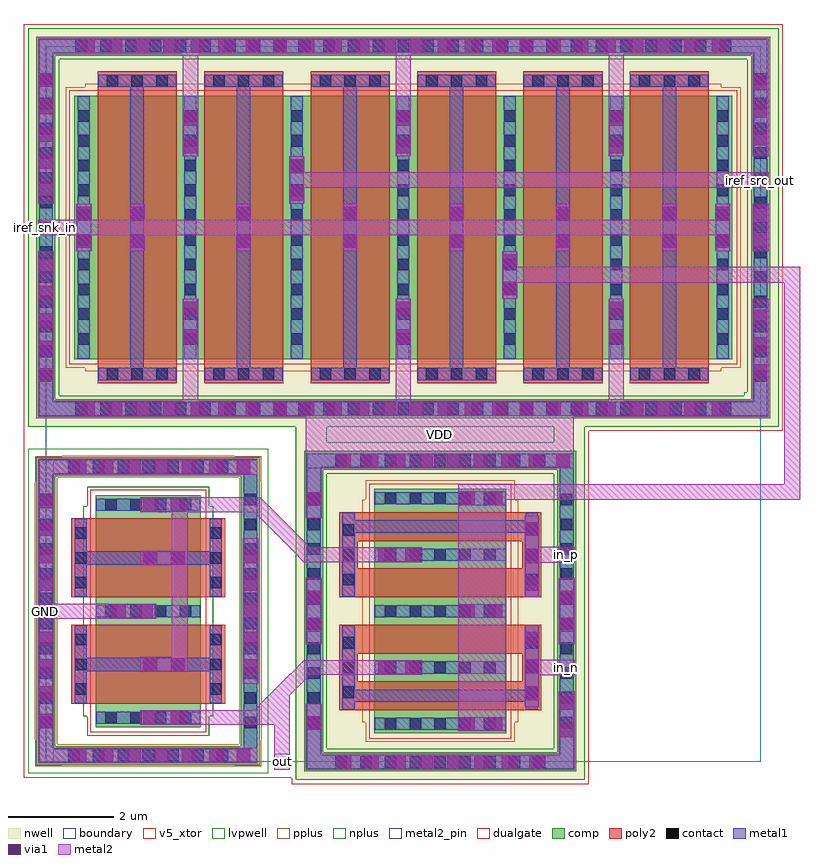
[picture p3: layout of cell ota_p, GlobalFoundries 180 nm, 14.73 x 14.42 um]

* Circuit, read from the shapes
.subckt ota_p GND VDD in_n in_p iref_snk_in iref_src_out out
XM1 GND n1 out GND nfet_05v0 w=2u l=1.5u
XM2 n1 n1 GND GND nfet_05v0 w=2u l=1.5u
XM3 VDD iref_snk_in iref_snk_in VDD pfet_05v0 w=5u l=1.5u m=2
XM4 iref_src_out iref_snk_in VDD VDD pfet_05v0 w=5u l=1.5u m=2
XM5 out in_n n2 VDD pfet_05v0 w=2.5u l=0.55u m=2
XM6 n1 in_p n2 VDD pfet_05v0 w=2.5u l=0.55u m=2
XM7 n2 iref_snk_in VDD VDD pfet_05v0 w=5u l=1.5u m=2
.ends

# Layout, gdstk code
from math import pi, radians
import gdstk
lib = gdstk.Library(unit=1e-6, precision=1e-09)
def R(c, l, rs):  # rectangles x0, y0, x1, y1
    for r in rs: c.add(gdstk.rectangle(r[:2], r[2:], *l))
def A(c, l, x, y, w, h, nx, ny, dx, dy):  # array of equal rectangles
    R(c, l, [(x+i*dx, y+j*dy, x+i*dx+w, y+j*dy+h) for i in range(nx) for j in range(ny)])
def P(c, l, *ps):  # polygons
    for p in ps: c.add(gdstk.Polygon(p, *l))
boundary = (0, 0)
nwell = (21, 0)
comp = (22, 0)
poly2 = (30, 0)
pplus = (31, 0)
nplus = (32, 0)
contact = (33, 0)
metal1 = (34, 0)
via1 = (35, 0)
metal2 = (36, 0)
metal2_pin = (36, 10)
dualgate = (55, 0)
v5_xtor = (112, 1)
lvpwell = (204, 0)

ota_p_dp = lib.new_cell('ota_p_dp')
R(ota_p_dp, boundary, [(-2.86,-2.4,2.86,2.4)])
R(ota_p_dp, nwell, [(-3.2,-2.74,3.2,2.74)])
R(ota_p_dp, comp, [(-3.04,-2.58,3.04,-2.22), (-3.04,-2.22,-2.68,2.22), (2.68,-2.22,3.04,2.22), (-2.32,-1.25,2.32,1.25), (-3.04,2.22,3.04,2.58)])
A(ota_p_dp, poly2, -1.88, -1.56, 0.55, 3.12, 4, 1, 1.07, 0)
R(ota_p_dp, poly2, [(-1.88,-1.92,-0.26,-1.56), (0.26,-1.92,1.88,-1.56), (-1.88,1.56,-0.26,1.92), (0.26,1.56,1.88,1.92)])
R(ota_p_dp, pplus, [(-2.11,-1.48,2.11,-1.41), (-2.48,-1.41,2.48,1.41), (-2.11,1.41,2.11,1.48)])
R(ota_p_dp, nplus, [(-3.2,-2.74,3.2,-2.15), (-3.2,-2.15,-2.61,2.15), (2.61,-2.15,3.2,2.15), (-3.2,2.15,3.2,2.74)])
A(ota_p_dp, contact, -2.225, -2.51, 0.22, 0.22, 10, 2, 0.47, 4.8)
A(ota_p_dp, contact, -2.97, -1.99, 0.22, 0.22, 1, 9, 0, 0.47)
A(ota_p_dp, contact, 2.75, -1.99, 0.22, 0.22, 1, 9, 0, 0.47)
A(ota_p_dp, contact, -1.65, -1.85, 0.22, 0.22, 3, 2, 0.47, 3.48)
A(ota_p_dp, contact, 0.49, -1.85, 0.22, 0.22, 3, 2, 0.47, 3.48)
A(ota_p_dp, contact, -2.25, -1.05, 0.22, 0.22, 5, 5, 1.07, 0.47)
A(ota_p_dp, metal1, -2.255, -1.24, 0.23, 2.48, 5, 1, 1.07, 0)
R(ota_p_dp, metal1, [(-2.975,-2.515,2.975,-2.285), (-2.975,-2.285,-2.745,2.285), (2.745,-2.285,2.975,2.285), (-1.87,-1.855,-0.27,-1.625), (0.27,-1.855,1.87,-1.625), (-1.72,-1.625,-1.49,1.625), (1.49,-1.625,1.72,1.625), (-1.87,1.625,-0.27,1.855), (0.27,1.625,1.87,1.855), (-2.975,2.285,2.975,2.515)])
R(ota_p_dp, dualgate, [(-3.28,-2.82,3.28,2.82)])
R(ota_p_dp, v5_xtor, [(-2.42,-1.35,2.42,1.35)])

ota_p_ld_cm = lib.new_cell('ota_p_ld_cm')
R(ota_p_ld_cm, boundary, [(-2.74,-1.94,2.74,1.94)])
R(ota_p_ld_cm, comp, [(-2.92,-2.12,2.92,-1.76), (-2.92,-1.76,-2.56,1.76), (2.56,-1.76,2.92,1.76), (-2.2,-1,2.2,1), (-2.92,1.76,2.92,2.12)])
R(ota_p_ld_cm, poly2, [(-1.76,-1.46,-0.26,1.46), (0.26,-1.46,1.76,1.46)])
R(ota_p_ld_cm, pplus, [(-2.435,-2.15,2.435,-2.14), (-2.94,-2.14,2.94,-1.73), (-2.94,-1.73,-2.53,-1.635), (2.53,-1.73,2.94,-1.635), (-2.95,-1.635,-2.53,1.635), (2.53,-1.635,2.95,1.635), (-2.94,1.635,-2.53,1.73), (2.53,1.635,2.94,1.73), (-2.94,1.73,2.94,2.14), (-2.435,2.14,2.435,2.15)])
R(ota_p_ld_cm, nplus, [(-1.99,-1.23,1.99,-1.16), (-2.36,-1.16,2.36,1.16), (-1.99,1.16,1.99,1.23)])
A(ota_p_ld_cm, contact, -2.225, -2.05, 0.22, 0.22, 10, 2, 0.47, 3.88)
A(ota_p_ld_cm, contact, -2.85, -1.52, 0.22, 0.22, 1, 7, 0, 0.47)
A(ota_p_ld_cm, contact, 2.63, -1.52, 0.22, 0.22, 1, 7, 0, 0.47)
A(ota_p_ld_cm, contact, -1.59, -1.39, 0.22, 0.22, 3, 2, 0.47, 2.56)
A(ota_p_ld_cm, contact, 0.43, -1.39, 0.22, 0.22, 3, 2, 0.47, 2.56)
A(ota_p_ld_cm, contact, -2.13, -0.815, 0.22, 0.22, 3, 4, 2.02, 0.47)
A(ota_p_ld_cm, metal1, -2.135, -0.99, 0.23, 1.98, 3, 1, 2.02, 0)
R(ota_p_ld_cm, metal1, [(-2.855,-2.055,2.855,-1.825), (-2.855,-1.825,-2.625,1.825), (2.625,-1.825,2.855,1.825), (-1.75,-1.395,-0.27,-1.165), (0.27,-1.395,1.75,-1.165), (-1.75,1.165,-0.27,1.395), (0.27,1.165,1.75,1.395), (-2.855,1.825,2.855,2.055)])
R(ota_p_ld_cm, dualgate, [(-3.16,-2.36,3.16,2.36)])
R(ota_p_ld_cm, v5_xtor, [(-2.3,-1.1,2.3,1.1)])
R(ota_p_ld_cm, lvpwell, [(-3.08,-2.28,3.08,2.28)])

ota_p_tail_cm = lib.new_cell('ota_p_tail_cm')
R(ota_p_tail_cm, boundary, [(-6.78,-3.44,6.78,3.44)])
R(ota_p_tail_cm, nwell, [(-7.12,-3.78,7.12,3.78)])
R(ota_p_tail_cm, comp, [(-6.96,-3.62,6.96,-3.26), (-6.96,-3.26,-6.6,3.26), (6.6,-3.26,6.96,3.26), (-6.24,-2.5,6.24,2.5), (-6.96,3.26,6.96,3.62)])
A(ota_p_tail_cm, poly2, -5.8, -2.96, 1.5, 5.92, 6, 1, 2.02, 0)
R(ota_p_tail_cm, pplus, [(-6.03,-2.73,6.03,-2.66), (-6.4,-2.66,6.4,2.66), (-6.03,2.66,6.03,2.73)])
R(ota_p_tail_cm, nplus, [(-7.12,-3.78,7.12,-3.19), (-7.12,-3.19,-6.53,3.19), (6.53,-3.19,7.12,3.19), (-7.12,3.19,7.12,3.78)])
A(ota_p_tail_cm, contact, -6.22, -3.55, 0.22, 0.22, 27, 2, 0.47, 6.88)
A(ota_p_tail_cm, contact, -6.89, -2.93, 0.22, 0.22, 1, 13, 0, 0.47)
A(ota_p_tail_cm, contact, 6.67, -2.93, 0.22, 0.22, 1, 13, 0, 0.47)
A(ota_p_tail_cm, contact, -5.63, -2.89, 0.22, 0.22, 3, 2, 0.47, 5.56)
A(ota_p_tail_cm, contact, -3.61, -2.89, 0.22, 0.22, 3, 2, 0.47, 5.56)
A(ota_p_tail_cm, contact, -1.59, -2.89, 0.22, 0.22, 3, 2, 0.47, 5.56)
A(ota_p_tail_cm, contact, 0.43, -2.89, 0.22, 0.22, 3, 2, 0.47, 5.56)
A(ota_p_tail_cm, contact, 2.45, -2.89, 0.22, 0.22, 3, 2, 0.47, 5.56)
A(ota_p_tail_cm, contact, 4.47, -2.89, 0.22, 0.22, 3, 2, 0.47, 5.56)
A(ota_p_tail_cm, contact, -6.17, -2.225, 0.22, 0.22, 7, 10, 2.02, 0.47)
A(ota_p_tail_cm, metal1, -5.79, -2.895, 1.48, 0.23, 6, 2, 2.02, 5.56)
A(ota_p_tail_cm, metal1, -6.175, -2.49, 0.23, 4.98, 7, 1, 2.02, 0)
R(ota_p_tail_cm, metal1, [(-6.895,-3.555,6.895,-3.325), (-6.895,-3.325,-6.665,3.325), (6.665,-3.325,6.895,3.325), (-6.895,3.325,6.895,3.555)])
R(ota_p_tail_cm, dualgate, [(-7.2,-3.86,7.2,3.86)])
R(ota_p_tail_cm, v5_xtor, [(-6.34,-2.6,6.34,2.6)])

ota_p = lib.new_cell('ota_p')
R(ota_p, boundary, [(0,0,13.56,13.58)])
R(ota_p, nwell, [(4.74,6.06,10.22,6.36), (13.41,6.55,13.71,6.85)])
R(ota_p, comp, [(13.41,6.55,13.71,6.85)])
R(ota_p, nplus, [(4.74,6.06,5.33,6.36), (9.63,6.06,10.22,6.36), (13.25,6.39,13.87,7.01)])
A(ota_p, metal1, 7.82, 0.59, 0.9, 0.26, 1, 3, 0, 2.14)
A(ota_p, metal1, 1.6, 7.475, 0.26, 5.33, 6, 1, 2.02, 0)
A(ota_p, metal1, 2.605, 7.89, 0.27, 0.9, 3, 2, 4.04, 3.6)
R(ota_p, metal1, [(4.95,-0.13,10.01,0.13), (-0.13,-0.01,4.01,0.25), (4.95,0.13,5.21,5.59), (9.75,0.13,10.01,5.59), (-0.13,0.25,0.13,5.47), (3.75,0.25,4.01,5.47), (1.79,0.71,2.69,0.97), (9.09,1.05,9.35,2.59), (6.24,1.66,7.14,1.92), (0.775,1.72,3.105,1.98), (1.19,2.73,2.09,2.99), (9.09,3.13,9.35,3.28), (9.08,3.28,9.35,3.51), (9.09,3.51,9.35,4.67), (0.775,3.74,3.105,4), (6.24,3.8,7.14,4.06), (1.79,4.75,2.69,5.01), (-0.13,5.47,4.01,5.73), (4.95,5.59,10.01,5.85), (-0.13,6.57,13.69,6.83), (-0.13,6.83,0.13,13.45), (13.43,6.83,13.69,13.45), (8.665,8.79,8.935,9.69), (0.585,9.69,0.855,10.59), (12.705,9.69,12.975,10.59), (4.625,10.59,4.895,11.49), (-0.13,13.45,13.69,13.71)])
A(ota_p, via1, 5.53, -0.13, 0.26, 0.26, 8, 1, 0.52, 0)
A(ota_p, via1, 0.5, -0.01, 0.26, 0.26, 7, 2, 0.52, 5.48)
A(ota_p, via1, 7.88, 0.59, 0.26, 0.26, 1, 3, 0, 2.14)
A(ota_p, via1, 8.4, 0.59, 0.26, 0.26, 1, 3, 0, 2.14)
A(ota_p, via1, -0.13, 0.65, 0.26, 0.26, 1, 9, 0, 0.52)
A(ota_p, via1, 9.09, 1.17, 0.26, 0.26, 1, 3, 0, 0.52)
A(ota_p, via1, 3.75, 1.69, 0.26, 0.26, 1, 5, 0, 0.52)
A(ota_p, via1, 9.09, 3.25, 0.26, 0.26, 1, 3, 0, 0.52)
A(ota_p, via1, 5.52, 5.59, 0.26, 0.26, 9, 1, 0.52, 0)
A(ota_p, via1, 0.67, 6.57, 0.26, 0.26, 24, 2, 0.52, 6.88)
A(ota_p, via1, -0.13, 7.21, 0.26, 0.26, 1, 5, 0, 0.52)
A(ota_p, via1, 13.43, 7.28, 0.26, 0.26, 1, 3, 0, 0.52)
A(ota_p, via1, 2.61, 7.95, 0.26, 0.26, 3, 2, 4.04, 0.52)
A(ota_p, via1, 1.6, 9.75, 0.26, 0.26, 6, 2, 2.02, 0.52)
A(ota_p, via1, -0.13, 10.73, 0.26, 0.26, 1, 5, 0, 0.52)
A(ota_p, via1, 2.61, 11.55, 0.26, 0.26, 3, 2, 4.04, 0.52)
A(ota_p, via1, 13.43, 11.7, 0.26, 0.26, 1, 3, 0, 0.52)
R(ota_p, via1, [(9.75,0.465,10.01,0.725), (4.95,0.605,5.21,0.865), (1.85,0.71,2.11,0.97), (2.37,0.71,2.63,0.97), (9.75,0.985,10.01,1.245), (6.3,1.66,6.56,1.92), (6.82,1.66,7.08,1.92), (1.85,1.72,2.11,1.98), (2.37,1.72,2.63,1.98), (4.95,2.47,5.21,2.73), (9.75,2.47,10.01,2.73), (1.25,2.73,1.51,2.99), (1.77,2.73,2.03,2.99), (4.95,2.99,5.21,3.25), (9.75,2.99,10.01,3.25), (1.85,3.74,2.11,4), (2.37,3.74,2.63,4), (6.3,3.8,6.56,4.06), (6.82,3.8,7.08,4.06), (1.85,4.75,2.11,5.01), (2.37,4.75,2.63,5.01), (4.95,4.855,5.21,5.115), (8.67,8.85,8.93,9.11), (8.67,9.37,8.93,9.63), (0.59,9.75,0.85,10.01), (12.71,9.75,12.97,10.01), (13.43,9.75,13.69,10.01), (0.59,10.27,0.85,10.53), (12.71,10.27,12.97,10.53), (13.43,10.27,13.69,10.53), (4.63,10.65,4.89,10.91), (4.63,11.17,4.89,11.43)])
A(ota_p, metal2, 2.595, 6.85, 0.29, 1.94, 3, 2, 4.04, 4.64)
A(ota_p, metal2, 1.59, 9.69, 0.28, 0.3, 6, 2, 2.02, 0.6)
R(ota_p, metal2, [(4.33,-0.15,4.63,0.7), (4.93,-0.15,10.03,0.15), (-0.15,-0.03,4.01,0.27), (4.93,0.15,5.23,1.1), (9.73,0.15,10.03,1.34), (-0.15,0.27,0.15,2.72), (7.82,0.58,8.72,4.97), (1.79,0.7,4.63,0.98), (4.005,0.98,4.63,1.04), (4.075,1.04,4.63,1.11), (9.08,1.05,9.36,1.64), (4.33,1.11,4.63,1.365), (4.445,1.365,4.73,1.48), (3.73,1.48,4.03,4.24), (4.625,1.48,4.73,1.65), (9.08,1.64,10.03,1.94), (4.625,1.65,7.14,1.66), (4.66,1.66,7.14,1.695), (4.885,1.695,7.14,1.92), (1.79,1.71,2.69,1.99), (4.895,1.92,7.14,1.93), (9.08,1.94,9.36,2.59), (2.39,1.99,2.69,3.73), (4.93,2.23,5.23,3.49), (9.73,2.24,10.03,3.48), (-0.15,2.72,2.09,3), (-0.15,3,0.15,5.45), (9.08,3.13,9.36,3.78), (1.79,3.73,2.69,4.01), (9.08,3.78,10.03,4.08), (4.895,3.79,7.14,3.8), (4.885,3.8,7.14,4.025), (2.39,4.01,2.69,4.74), (4.66,4.025,7.14,4.06), (4.625,4.06,7.14,4.07), (4.625,4.07,4.73,4.24), (9.08,4.08,9.36,4.67), (4.445,4.24,4.73,4.355), (4.33,4.355,4.475,4.61), (4.075,4.61,4.405,4.68), (4.93,4.62,5.23,5.57), (4.005,4.68,4.065,4.74), (1.79,4.74,4.065,5.02), (7.82,4.97,14.31,5.27), (14.01,5.27,14.31,9.09), (-0.15,5.45,4.01,5.75), (4.93,5.57,10.01,6.55), (-0.15,6.55,13.71,6.85), (-0.15,6.85,0.15,9.69), (13.41,6.85,13.71,8.79), (8.655,8.79,8.945,9.09), (8.655,9.09,14.31,9.39), (8.655,9.39,8.945,9.69), (0.575,9.69,0.865,9.99), (12.695,9.69,12.985,9.99), (13.41,9.69,13.71,10.59), (-0.15,9.99,12.985,10.29), (0.575,10.29,0.865,10.59), (12.695,10.29,12.985,10.59), (-0.15,10.59,0.15,13.43), (4.615,10.59,4.905,10.89), (4.615,10.89,13.71,11.19), (4.615,11.19,4.905,11.49), (13.41,11.49,13.71,13.43), (-0.15,13.43,13.71,13.73)])
P(ota_p, metal2, [(3.945,0.98),(4.005,1.04),(4.005,0.98)],
  [(4.005,1.04),(4.075,1.11),(4.075,1.04)],
  [(4.63,1.265),(4.63,1.365),(4.73,1.365)],
  [(4.075,1.11),(4.33,1.365),(4.33,1.11)],
  [(4.73,1.365),(4.73,1.65),(5.015,1.65)],
  [(4.33,1.365),(4.445,1.48),(4.445,1.365)],
  [(4.625,1.66),(4.66,1.695),(4.66,1.66)],
  [(4.66,1.695),(4.885,1.92),(4.885,1.695)],
  [(4.445,1.48),(4.625,1.66),(4.625,1.48)],
  [(4.075,4.61),(4.005,4.68),(4.075,4.68)],
  [(4.885,3.8),(4.66,4.025),(4.885,4.025)],
  [(4.405,4.61),(4.405,4.68),(4.475,4.61)],
  [(4.33,4.355),(4.075,4.61),(4.33,4.61)],
  [(4.005,4.68),(3.945,4.74),(4.005,4.74)],
  [(4.66,4.025),(4.625,4.06),(4.66,4.06)],
  [(4.475,4.355),(4.475,4.61),(4.73,4.355)],
  [(4.065,4.68),(4.065,5.02),(4.405,4.68)],
  [(4.445,4.24),(4.33,4.355),(4.445,4.355)],
  [(4.73,4.07),(4.73,4.355),(5.015,4.07)],
  [(4.895,3.79),(4.885,3.8),(4.895,3.8)],
  [(4.625,4.06),(4.445,4.24),(4.625,4.24)],
  [(4.885,1.92),(4.895,1.93),(4.895,1.92)])
R(ota_p, metal2_pin, [(4.33,-0.15,4.63,0.15), (-0.15,-0.03,0.15,5.75), (9.73,1.64,10.03,1.94), (9.73,3.78,10.03,4.08), (4.93,5.57,10.01,6.85), (-0.15,9.99,0.15,10.29), (13.41,10.89,13.71,11.19)])
R(ota_p, dualgate, [(4.3,-0.3,4.66,6.02), (-0.42,6.02,4.66,6.14), (-0.42,6.14,10.3,6.28), (13.17,6.31,13.95,7.09)])
ota_p.add(gdstk.Reference(ota_p_dp, (7.48,2.86), rotation=3*pi/2))
ota_p.add(gdstk.Reference(ota_p_ld_cm, (1.94,2.86), rotation=pi/2))
ota_p.add(gdstk.Reference(ota_p_tail_cm, (6.78,10.14)))
ota_p.add(gdstk.Label('out', (4.48,0), layer=36, texttype=10))
ota_p.add(gdstk.Label('in_p', (9.88,3.93), layer=36, texttype=10))
ota_p.add(gdstk.Label('iref_src_out', (13.56,11.04), layer=36, texttype=10))
ota_p.add(gdstk.Label('iref_snk_in', (0,10.14), layer=36, texttype=10))
ota_p.add(gdstk.Label('VDD', (7.47,6.21), layer=36, texttype=10))
ota_p.add(gdstk.Label('in_n', (9.88,1.79), layer=36, texttype=10))
ota_p.add(gdstk.Label('GND', (0,2.86), layer=36, texttype=10))

lib.write_gds('ota_p.gds')
